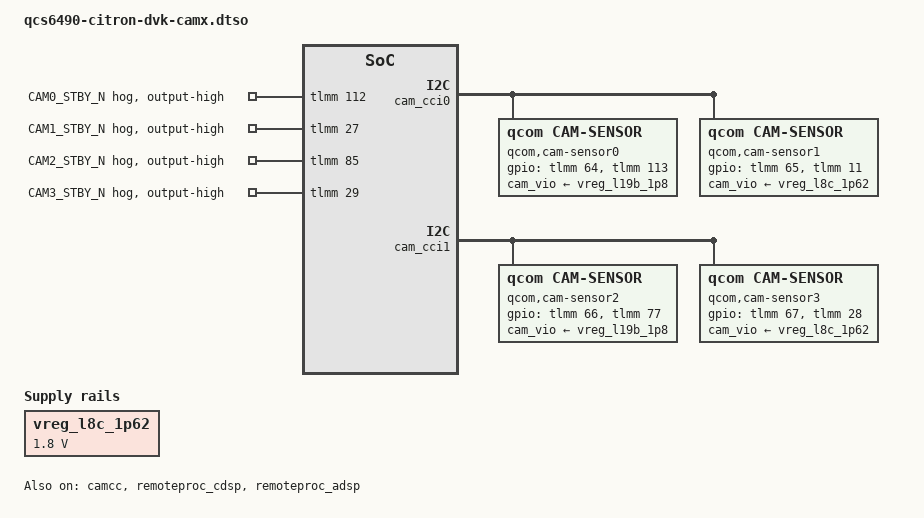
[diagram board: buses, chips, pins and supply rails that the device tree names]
// SPDX-License-Identifier: BSD-3-Clause
/*
 * Downstream CAMX (Spectra) camera pipeline for the Citron DVK (CAMERA_STACK =
 * "camx"). Sensor models come from the userspace CAMX library, not DT.
 *
 *   conn  sensor  cell  CSIPHY  CCI master     MCLK  RST  STBY  camxlib module
 *   CSI0  IMX577  0     0       cci0 master 0  64    113  112   cmk_imx577_cam3
 *   CSI1  OV9282  1     1       cci0 master 1  65    11   27    cmk_ov9282_cam0a
 *   CSI2  IMX577  8     2       cci1 master 0  66    77   85    cmk_imx577_cam2
 *   CSI3  IMX477  2     3       cci1 master 1  67    28   29    rpi_imx477_cam3
 *
 * cell-index is NOT the CSI port: it must equal the <cameraId> of a chi-cdk module
 * XML, and CAMX then picks among the modules sharing that id by reading the sensor
 * ID. The ids above are the ones camxlib ships, so no chi-cdk change is needed.
 * IMX477 only exists at id 2, which is why CSI3 takes 2 and CSI2 takes 8.
 *
 * CSI4 is absent here: only four CCI I2C masters exist for five ports, so its I2C is
 * on GPIO161/162 and must be bit-banged. CAMX can do that (qcom,cam-i2c-sensor sets
 * I2C_MASTER), but it is left out until the GPIO161/162 pinmux question is settled.
 */

/dts-v1/;
/plugin/;

#include <dt-bindings/clock/qcom,camcc-sc7280.h>
#include <dt-bindings/clock/qcom,gcc-sc7280.h>
#include <dt-bindings/gpio/gpio.h>
#include <dt-bindings/interconnect/qcom,sc7280.h>
#include <dt-bindings/interrupt-controller/arm-gic.h>
/* cam_cpas vdd-corners need RPMH_REGULATOR_LEVEL_*; an overlay compiles standalone,
 * so it cannot inherit the include through sc7280.dtsi. */
#include <dt-bindings/power/qcom,rpmhpd.h>

/* Camera clock controller; disabled on the SOM (qcs6490-citron-som.dtsi). */
&camcc {
	status = "okay";
};

/* Free the camera hardware from the mainline drivers; CAMX owns cci/csiphy/isp. */
&camss {
	status = "disabled";
};

&cci0 {
	status = "disabled";
};

&cci1 {
	status = "disabled";
};

/*
 * CAMX offloads to the CDSP and its sensor stack uses the ADSP, both of which the
 * minimized SOM dtsi disables.
 */
&remoteproc_cdsp {
	firmware-name = "qcom/qcm6490/cdsp.mbn";
	status = "okay";
};

&remoteproc_adsp {
	firmware-name = "qcom/qcm6490/adsp.mbn";
	status = "okay";
};

/* Downstream CAMX SoC camera stack. */
#include "qcs6490-camera.dtsi"

/* CAMX runs its IQ nodes on the GPU. */
#include "qcs6490-gpu.dtsi"

/*
 * cam_res_mgr_gpio_request() dereferences this driver's global unconditionally, so
 * the node must exist or sensor open panics. No shared pins here, so a bare node.
 */
&soc {
	qcom,cam-res-mgr {
		compatible = "qcom,cam-res-mgr";
		status = "ok";
	};
};

/* MCLK0-3 and RESET2 already match the SoC template; RESET0/1/3 move. */
&cam_sensor_active_rst0 {
	mux {
		pins = "gpio113";
	};

	config {
		pins = "gpio113";
	};
};

&cam_sensor_suspend_rst0 {
	mux {
		pins = "gpio113";
	};

	config {
		pins = "gpio113";
	};
};

&cam_sensor_active_rst1 {
	mux {
		pins = "gpio11";
	};

	config {
		pins = "gpio11";
	};
};

&cam_sensor_suspend_rst1 {
	mux {
		pins = "gpio11";
	};

	config {
		pins = "gpio11";
	};
};

&cam_sensor_active_rst3 {
	mux {
		pins = "gpio28";
	};

	config {
		pins = "gpio28";
	};
};

&cam_sensor_suspend_rst3 {
	mux {
		pins = "gpio28";
	};

	config {
		pins = "gpio28";
	};
};

/* No module has a standby control; hold every STBY/PDN (active low) high. */
&tlmm {
	cam0_pwdn_hog: cam0-pwdn-hog {
		gpio-hog;
		gpios = <112 GPIO_ACTIVE_HIGH>;
		output-high;
		line-name = "CAM0_STBY_N";
	};

	cam1_pwdn_hog: cam1-pwdn-hog {
		gpio-hog;
		gpios = <27 GPIO_ACTIVE_HIGH>;
		output-high;
		line-name = "CAM1_STBY_N";
	};

	cam2_pwdn_hog: cam2-pwdn-hog {
		gpio-hog;
		gpios = <85 GPIO_ACTIVE_HIGH>;
		output-high;
		line-name = "CAM2_STBY_N";
	};

	cam3_pwdn_hog: cam3-pwdn-hog {
		gpio-hog;
		gpios = <29 GPIO_ACTIVE_HIGH>;
		output-high;
		line-name = "CAM3_STBY_N";
	};
};

/* ov9282 enables supplies without setting a voltage; pin L8C to 1.8V. */
&vreg_l8c_1p62 {
	regulator-min-microvolt = <1800000>;
	regulator-max-microvolt = <1800000>;
};

&cam_cci0 {
	qcom,cam-sensor0 {
		cell-index = <0>;
		compatible = "qcom,cam-sensor";
		csiphy-sd-index = <0>;
		sensor-position-roll = <0>;
		sensor-position-pitch = <0>;
		sensor-position-yaw = <180>;

		/* Without the titan_top GDSC the MCLK branch gate is unpowered (rc -16). */
		power-domains = <&camcc CAM_CC_TITAN_TOP_GDSC>;

		cam_vio-supply = <&vreg_l19b_1p8>;
		regulator-names = "cam_vio";
		rgltr-cntrl-support;
		rgltr-min-voltage = <1800000>;
		rgltr-max-voltage = <1800000>;
		rgltr-load-current = <120000>;

		gpio-no-mux = <0>;
		pinctrl-names = "cam_default", "cam_suspend";
		pinctrl-0 = <&cam_sensor_mclk0_active &cam_sensor_active_rst0>;
		pinctrl-1 = <&cam_sensor_mclk0_suspend &cam_sensor_suspend_rst0>;
		gpios = <&tlmm 64 0>, <&tlmm 113 0>;
		gpio-reset = <1>;
		gpio-req-tbl-num = <0 1>;
		gpio-req-tbl-flags = <1 0>;
		gpio-req-tbl-label = "CAMIF_MCLK0", "CAM_RESET0";

		sensor-mode = <0>;
		cci-master = <0>;
		clocks = <&camcc CAM_CC_MCLK0_CLK>;
		clock-names = "cam_clk";
		clock-cntl-level = "nominal";
		clock-rates = <24000000>;

		status = "ok";
	};

	qcom,cam-sensor1 {
		cell-index = <1>;
		compatible = "qcom,cam-sensor";
		csiphy-sd-index = <1>;
		sensor-position-roll = <0>;
		sensor-position-pitch = <0>;
		sensor-position-yaw = <0>;

		power-domains = <&camcc CAM_CC_TITAN_TOP_GDSC>;

		cam_vio-supply = <&vreg_l8c_1p62>;
		regulator-names = "cam_vio";
		rgltr-cntrl-support;
		rgltr-min-voltage = <1800000>;
		rgltr-max-voltage = <1800000>;
		rgltr-load-current = <120000>;

		gpio-no-mux = <0>;
		pinctrl-names = "cam_default", "cam_suspend";
		pinctrl-0 = <&cam_sensor_mclk1_active &cam_sensor_active_rst1>;
		pinctrl-1 = <&cam_sensor_mclk1_suspend &cam_sensor_suspend_rst1>;
		gpios = <&tlmm 65 0>, <&tlmm 11 0>;
		gpio-reset = <1>;
		gpio-req-tbl-num = <0 1>;
		gpio-req-tbl-flags = <1 0>;
		gpio-req-tbl-label = "CAMIF_MCLK1", "CAM_RESET1";

		sensor-mode = <0>;
		cci-master = <1>;
		clocks = <&camcc CAM_CC_MCLK1_CLK>;
		clock-names = "cam_clk";
		clock-cntl-level = "nominal";
		clock-rates = <24000000>;

		status = "ok";
	};
};

&cam_cci1 {
	/* cell-index is a camxlib cameraId, not the CSI port - see the header. */
	qcom,cam-sensor2 {
		cell-index = <8>;
		compatible = "qcom,cam-sensor";
		csiphy-sd-index = <2>;
		sensor-position-roll = <0>;
		sensor-position-pitch = <0>;
		sensor-position-yaw = <0>;

		power-domains = <&camcc CAM_CC_TITAN_TOP_GDSC>;

		cam_vio-supply = <&vreg_l19b_1p8>;
		regulator-names = "cam_vio";
		rgltr-cntrl-support;
		rgltr-min-voltage = <1800000>;
		rgltr-max-voltage = <1800000>;
		rgltr-load-current = <120000>;

		gpio-no-mux = <0>;
		pinctrl-names = "cam_default", "cam_suspend";
		pinctrl-0 = <&cam_sensor_mclk2_active &cam_sensor_active_rst2>;
		pinctrl-1 = <&cam_sensor_mclk2_suspend &cam_sensor_suspend_rst2>;
		gpios = <&tlmm 66 0>, <&tlmm 77 0>;
		gpio-reset = <1>;
		gpio-req-tbl-num = <0 1>;
		gpio-req-tbl-flags = <1 0>;
		gpio-req-tbl-label = "CAMIF_MCLK2", "CAM_RESET2";

		sensor-mode = <0>;
		cci-master = <0>;
		clocks = <&camcc CAM_CC_MCLK2_CLK>;
		clock-names = "cam_clk";
		clock-cntl-level = "nominal";
		clock-rates = <24000000>;

		status = "ok";
	};

	/* Likewise. */
	qcom,cam-sensor3 {
		cell-index = <2>;
		compatible = "qcom,cam-sensor";
		csiphy-sd-index = <3>;
		sensor-position-roll = <0>;
		sensor-position-pitch = <0>;
		sensor-position-yaw = <0>;

		power-domains = <&camcc CAM_CC_TITAN_TOP_GDSC>;

		cam_vio-supply = <&vreg_l8c_1p62>;
		regulator-names = "cam_vio";
		rgltr-cntrl-support;
		rgltr-min-voltage = <1800000>;
		rgltr-max-voltage = <1800000>;
		rgltr-load-current = <120000>;

		gpio-no-mux = <0>;
		pinctrl-names = "cam_default", "cam_suspend";
		pinctrl-0 = <&cam_sensor_mclk3_active &cam_sensor_active_rst3>;
		pinctrl-1 = <&cam_sensor_mclk3_suspend &cam_sensor_suspend_rst3>;
		gpios = <&tlmm 67 0>, <&tlmm 28 0>;
		gpio-reset = <1>;
		gpio-req-tbl-num = <0 1>;
		gpio-req-tbl-flags = <1 0>;
		gpio-req-tbl-label = "CAMIF_MCLK3", "CAM_RESET3";

		sensor-mode = <0>;
		cci-master = <1>;
		clocks = <&camcc CAM_CC_MCLK3_CLK>;
		clock-names = "cam_clk";
		clock-cntl-level = "nominal";
		clock-rates = <24000000>;

		status = "ok";
	};
};
